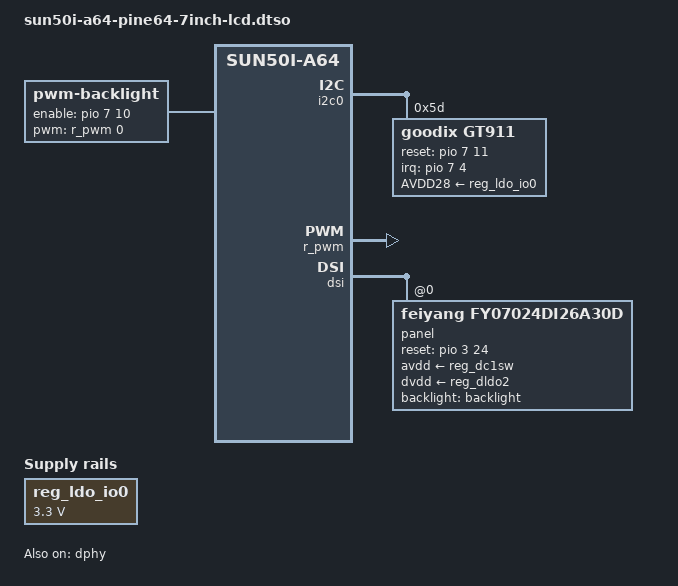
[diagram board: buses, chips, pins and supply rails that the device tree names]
/dts-v1/;
/plugin/;

#include <dt-bindings/interrupt-controller/irq.h>
#include <dt-bindings/gpio/gpio.h>
#include <dt-bindings/pwm/pwm.h>

/ {
	compatible = "allwinner,sun50i-a64";

	fragment@0 {
		target = <&reg_ldo_io0>;

		__overlay__ {
			regulator-min-microvolt = <3300000>;
			regulator-max-microvolt = <3300000>;
			regulator-name = "vcc-ctp";
			status = "okay";
		};
	};

	fragment@1 {
		target = <&i2c0>;

		__overlay__ {
			status = "okay";

			gt911: touchscreen@5d {
				compatible = "goodix,gt911";
				reg = <0x5d>;
		
				interrupt-parent = <&pio>;
				interrupts = <7 4 IRQ_TYPE_EDGE_RISING>; /* PH4 */
				reset-gpios = <&pio 7 11 GPIO_ACTIVE_HIGH>; /* PH11 */
				AVDD28-supply = <&reg_ldo_io0>;
			};
		};
	};

	fragment@2 {
		target = <&r_pwm>;

		__overlay__ {
			status = "okay";
		};
	};

	fragment@3 {
		target-path = "/";

		__overlay__ {
			backlight: backlight {
				compatible = "pwm-backlight";
				pwms = <&r_pwm 0 50000 PWM_POLARITY_INVERTED>;
				brightness-levels = <1 2 4 8 16 32 64 128 512>;
				default-brightness-level = <8>;
				enable-gpios = <&pio 7 10 GPIO_ACTIVE_HIGH>; /* PH10 */
			};
		};
	};

	fragment@4 {
		target = <&dsi>;

		__overlay__ {
			vcc-dsi-supply = <&reg_dldo1>;
			status = "okay";
		
			panel@0 {
				compatible = "feiyang,fy07024di26a30d";
				reg = <0>;
				avdd-supply = <&reg_dc1sw>;
				dvdd-supply = <&reg_dldo2>;
				reset-gpios = <&pio 3 24 GPIO_ACTIVE_HIGH>; /* PD24 */
				backlight = <&backlight>;
			};
		};
	};

	fragment@5 {
		target = <&dphy>;

		__overlay__ {
			status = "okay";
		};
	};
};
